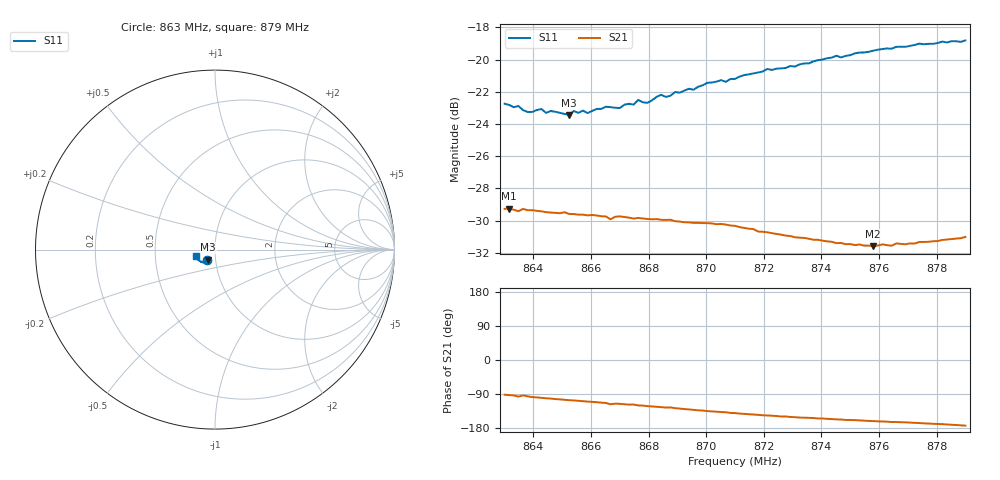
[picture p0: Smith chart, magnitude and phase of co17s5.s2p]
# HZ S RI R 50
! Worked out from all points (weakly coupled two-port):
!   101 points, 863 MHz to 879 MHz, reference 50 ohm
!   highest |S21| = -29.25 dB at 863.16 MHz (marker M1); lowest = -31.6 dB at 875.8 MHz (marker M2)
!   lowest |S11| = -23.4 dB at 865.24 MHz (marker M3), VSWR 1.14, Z = 46 - j5.12 ohm
!   |S11| at or under -10 dB: start of sweep to end of sweep
!   S12 and S22 are empty: the file has one direction only
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8.63e8  -0.0462 -0.0565  -0.00098 -0.0344  0 0  0 0
8.6316e8  -0.0455 -0.0562  -0.0016 -0.0344  0 0  0 0
8.638e8  -0.0412 -0.055  -0.00344 -0.0339  0 0  0 0
8.6428e8  -0.0406 -0.0573  -0.00575 -0.0333  0 0  0 0
8.6444e8  -0.0403 -0.0552  -0.00639 -0.033  0 0  0 0
8.6524e8  -0.0383 -0.0554  -0.0091 -0.0319  0 0  0 0
8.6572e8  -0.0377 -0.0583  -0.0106 -0.0312  0 0  0 0
8.6588e8  -0.0373 -0.0571  -0.0111 -0.0309  0 0  0 0
8.6668e8  -0.0369 -0.0608  -0.0144 -0.0285  0 0  0 0
8.67e8  -0.0367 -0.0605  -0.0142 -0.0294  0 0  0 0
8.6748e8  -0.0361 -0.0629  -0.0149 -0.0284  0 0  0 0
8.6764e8  -0.0387 -0.0642  -0.016 -0.028  0 0  0 0
8.6796e8  -0.037 -0.0634  -0.0168 -0.0272  0 0  0 0
8.6844e8  -0.0407 -0.0662  -0.018 -0.0262  0 0  0 0
8.686e8  -0.0385 -0.0662  -0.0185 -0.0258  0 0  0 0
8.7004e8  -0.0463 -0.071  -0.0219 -0.022  0 0  0 0
8.71e8  -0.0504 -0.0711  -0.0233 -0.0196  0 0  0 0
8.7212e8  -0.059 -0.0727  -0.0242 -0.0161  0 0  0 0
8.7372e8  -0.0686 -0.0711  -0.0246 -0.0125  0 0  0 0
8.758e8  -0.0858 -0.0634  -0.0249 -0.00848  0 0  0 0
8.7644e8  -0.0905 -0.0592  -0.0254 -0.00743  0 0  0 0
8.79e8  -0.1084 -0.0375  -0.0279 -0.00332  0 0  0 0
